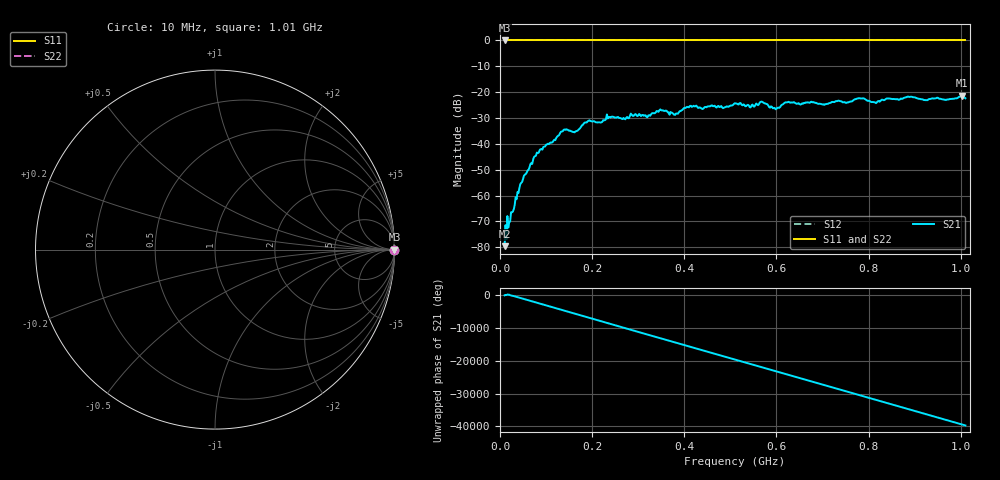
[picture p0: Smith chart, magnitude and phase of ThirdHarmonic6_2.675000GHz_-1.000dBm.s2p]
! 8/17/2025 6:15:12 AM
! C:\ANRITSUVNA\TEMP\TEMP.S2P
! CHANNEL.1
! TR.MEASUREMENT
! RAW.DATA
! RF.CORRECTION.OFF
! AVERAGING.OFF
! IF.BANDWIDTH: 5KHZ
! SWEEPTYPE:  FREQ.SWEEP(Linear)
! Reference Plane Port Info
! PORT:  PORT1  PORT2
! DISTANCE:  0  m  0  m
! TIME:  0  s  0  s
! PHASE.OFFSET:  0  deg.  0  deg.
! LOSS:  0  dB  0  dB
! REF.LOSS:  0  dB  0  dB
! REF.FREQ:  0  Hz  0  Hz
! Power Info
! POWER:  -20  dBm  -20  dBm
! EFF.POWER:  -20  dBm  -20  dBm
! SOURCE.ATTEN:  0  dB  0  dB
! TEST.ATTEN:  0  dB  0  dB
# GHZ S RI R 50.0
! FREQ.GHZ  S11RE  S11IM  S21RE  S21IM  S12RE  S12IM  S22RE  S22IM
!; PortSelection: Port_12
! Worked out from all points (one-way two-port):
!   501 points, 10 MHz to 1.01 GHz, reference 50 ohm
!   highest |S21| = -21.40 dB at 1.002 GHz (marker M1); lowest = -79.6 dB at 10 MHz (marker M2)
!   lowest |S11| = 0.0 dB at 10 MHz (marker M3)
!   |S11| at or under -10 dB: nowhere
!   |S22| runs from 0.0 to 0.0 dB; largest |S21 - S12| = 1.1
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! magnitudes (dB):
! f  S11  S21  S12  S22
! 10 MHz  0.0  -79.6  0.0  0.0
! 16 MHz  0.0  -67.9  0.0  0.0
! 42 MHz  0.0  -57.2  0.0  0.0
! 76 MHz  0.0  -44.7  0.0  0.0
! 136 MHz  0.0  -35.1  0.0  0.0
! 164 MHz  0.0  -35.1  0.0  0.0
! 178 MHz  0.0  -32.8  0.0  0.0
! 236 MHz  0.0  -29.7  0.0  0.0
! 322 MHz  0.0  -29.0  0.0  0.0
! 344 MHz  0.0  -27.6  0.0  0.0
! 382 MHz  0.0  -28.3  0.0  0.0
! 410 MHz  0.0  -25.8  0.0  0.0
! 510 MHz  0.0  -24.3  0.0  0.0
! 546 MHz  0.0  -25.0  0.0  0.0
! 568 MHz  0.0  -23.7  0.0  0.0
! 596 MHz  0.0  -26.1  0.0  0.0
! 622 MHz  0.0  -23.9  0.0  0.0
! 678 MHz  0.0  -23.9  0.0  0.0
! 814 MHz  0.0  -24.0  0.0  0.0
! 844 MHz  0.0  -22.5  0.0  0.0
! 1.002 GHz  0.0  -21.4  0.0  0.0
! 1.01 GHz  0.0  -22.4  0.0  0.0
